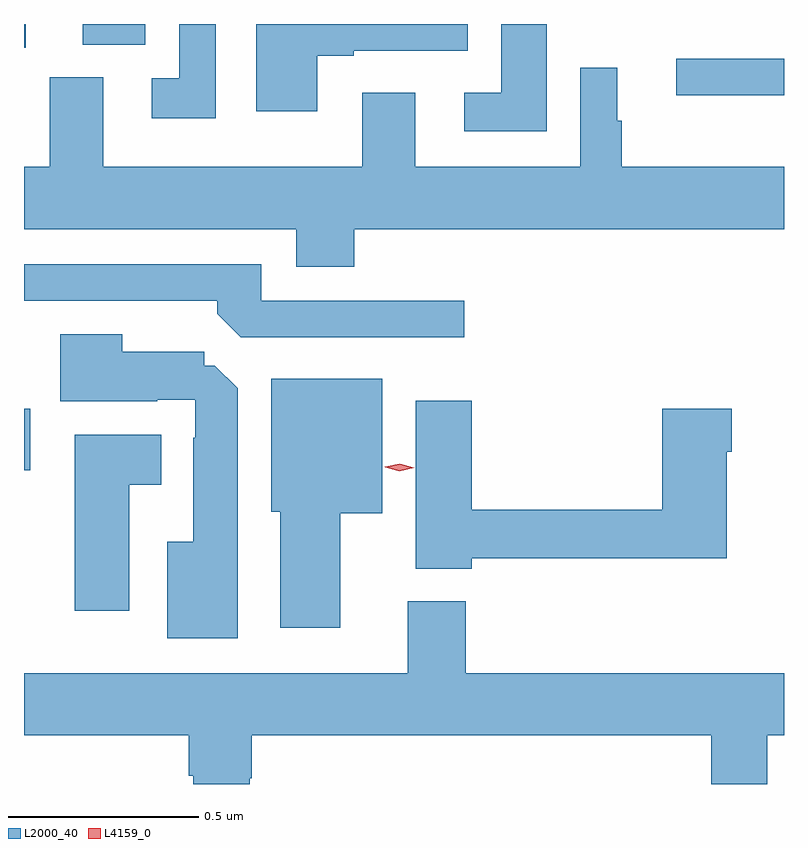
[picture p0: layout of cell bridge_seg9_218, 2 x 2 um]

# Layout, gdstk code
import gdstk
lib = gdstk.Library(unit=1e-6, precision=1e-09)
def R(c, l, rs):  # rectangles x0, y0, x1, y1
    for r in rs: c.add(gdstk.rectangle(r[:2], r[2:], *l))
def P(c, l, *ps):  # polygons
    for p in ps: c.add(gdstk.Polygon(p, *l))
L2000_40 = (2000, 40)
L4159_0 = (4159, 0)

bridge_seg9_218 = lib.new_cell('bridge_seg9_218')
R(bridge_seg9_218, L2000_40, [(154.773,1215.766,154.789,1215.928), (156.489,1216.752,156.773,1216.848), (154.773,1216.878,154.777,1216.94), (154.928,1216.885,155.092,1216.94)])
P(bridge_seg9_218, L2000_40, [(156.148,1216.94),(156.029,1216.94),(156.029,1216.759),(155.931,1216.759),(155.931,1216.658),(156.148,1216.658)],
  [(155.545,1216.857),(155.641,1216.857),(155.641,1216.869),(155.941,1216.869),(155.941,1216.94),(155.384,1216.94),(155.384,1216.71),(155.545,1216.71)],
  [(155.277,1216.94),(155.181,1216.94),(155.181,1216.797),(155.109,1216.797),(155.109,1216.692),(155.277,1216.692)],
  [(155.642,1216.4),(156.773,1216.4),(156.773,1216.564),(156.346,1216.564),(156.346,1216.686),(156.334,1216.686),(156.334,1216.825),(156.237,1216.825),(156.237,1216.564),(155.803,1216.564),(155.803,1216.759),(155.663,1216.759),(155.663,1216.564),(154.981,1216.564),(154.981,1216.8),(154.841,1216.8),(154.841,1216.564),(154.773,1216.564),(154.773,1216.4),(155.489,1216.4),(155.489,1216.301),(155.642,1216.301)],
  [(155.932,1216.212),(155.397,1216.212),(155.397,1216.308),(154.773,1216.308),(154.773,1216.212),(155.282,1216.212),(155.282,1216.178),(155.343,1216.116),(155.932,1216.116)],
  [(155.335,1215.981),(155.275,1216.041),(155.247,1216.041),(155.247,1216.078),(155.032,1216.078),(155.032,1216.123),(154.868,1216.123),(154.868,1215.947),(155.123,1215.947),(155.123,1215.951),(155.223,1215.951),(155.223,1215.851),(155.219,1215.851),(155.219,1215.577),(155.15,1215.577),(155.15,1215.323),(155.335,1215.323)],
  [(155.605,1215.653),(155.716,1215.653),(155.716,1216.006),(155.423,1216.006),(155.423,1215.657),(155.447,1215.657),(155.447,1215.351),(155.605,1215.351)],
  [(155.951,1215.534),(156.622,1215.534),(156.622,1215.815),(156.635,1215.815),(156.635,1215.928),(156.452,1215.928),(156.452,1215.662),(155.951,1215.662),(155.951,1215.949),(155.804,1215.949),(155.804,1215.506),(155.951,1215.506)],
  [(155.05,1215.728),(155.134,1215.728),(155.134,1215.859),(154.907,1215.859),(154.907,1215.396),(155.05,1215.396)],
  [(155.367,1214.955),(155.372,1214.955),(155.372,1215.068),(156.582,1215.068),(156.582,1214.94),(156.729,1214.94),(156.729,1215.068),(156.773,1215.068),(156.773,1215.232),(155.936,1215.232),(155.936,1215.421),(155.783,1215.421),(155.783,1215.232),(154.773,1215.232),(154.773,1215.068),(155.207,1215.068),(155.207,1214.962),(155.219,1214.962),(155.219,1214.94),(155.367,1214.94)])
P(bridge_seg9_218, L4159_0, [(155.761,1215.763),(155.723,1215.774),(155.722,1215.775),(155.723,1215.775),(155.762,1215.783),(155.8,1215.772),(155.8,1215.772),(155.8,1215.772)])

lib.write_gds('bridge_seg9_218.gds')
